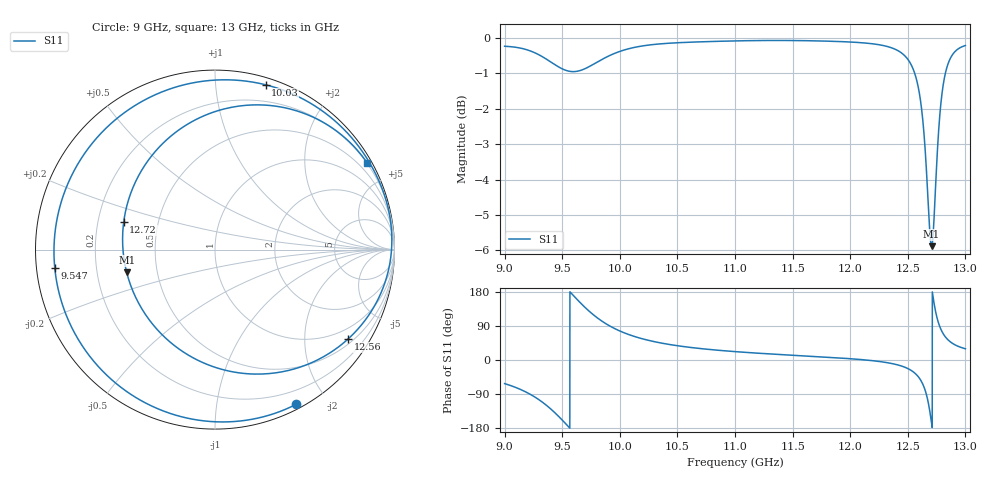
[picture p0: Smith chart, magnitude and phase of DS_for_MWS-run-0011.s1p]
! TOUCHSTONE file generated by CST DESIGN STUDIO
! Date and time: Tue Feb  4 13:15:00 2025
! Project name: C:\Work\MatlabApps\UnitCellOptimizationMatlab\CST\unitcell.cst
! Tree item: Tasks\Sweep1\SPara1\S-Parameters
! Header version: 2024
! Port assignment regex: !\s*Touchstone port\s*([0-9]+)\s*=\s*(CST MWS port|CST DES external port|CST DES block port)\s*(.+)\s* \(\"(.*)\"\)(\s*mode\s*([0-9]+))?.*
! Touchstone port assignment:
! Touchstone port 1 = CST DES external port 1 ("")
# GHz S MA R 50
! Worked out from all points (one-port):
!   4001 points, 9 GHz to 13 GHz, reference 50 ohm
!   lowest |S11| = -5.9 dB at 12.71 GHz (marker M1), VSWR 3.07, Z = 16.5 - j5.67 ohm
!   |S11| at or under -10 dB: nowhere
!   S11 on the Smith chart (normalised r, x): 9 GHz: 0.05, -1.65; 9.547 GHz: 0.05, -0.06; 10.03 GHz: 0.06, +1.35; 12.56 GHz: 0.64, -3.17; 12.72 GHz: 0.31, +0.13; 13 GHz: 0.19, +3.77
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9  0.9735 -62.3
9.148  0.9668 -79.1
9.298  0.9468 -104.8
9.399  0.9253 -128.8
9.5  0.9046 -158.4
9.547  0.8986 -173.6
9.641  0.8982 156.0
9.762  0.9163 121.5
9.867  0.9367 98.1
10  0.9573 76.6
10.028  0.9606 73.0
10.233  0.9764 53.0
10.5  0.9846 37.7
11  0.9905 22.1
11.5  0.9917 12.5
12  0.987 3.4
12.313  0.9735 -6.6
12.5  0.9331 -22.5
12.558  0.8934 -33.8
12.609  0.8187 -51.8
12.652  0.6907 -81.1
12.679  0.5765 -114.4
12.706  0.5082 -165.5
12.721  0.5314 163.2
12.755  0.6839 109.9
12.791  0.8191 78.6
12.871  0.9371 47.5
13  0.9757 29.6
